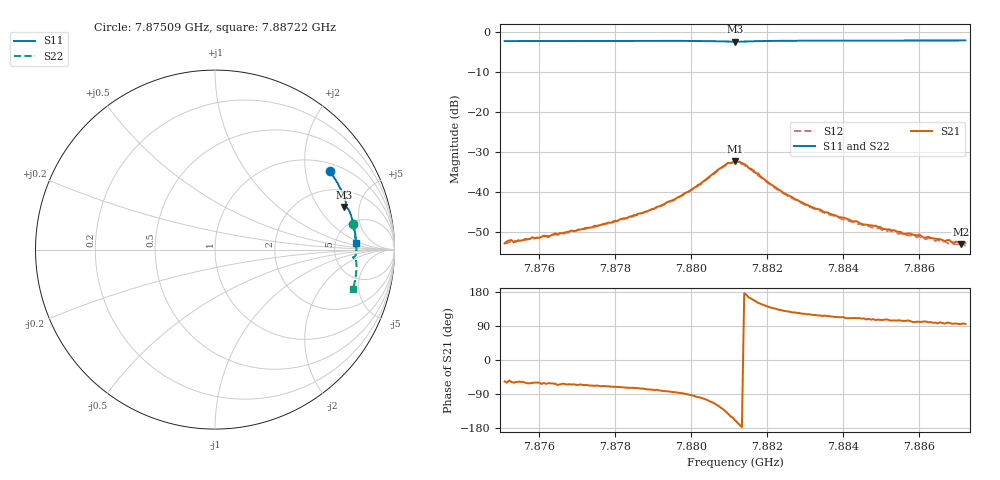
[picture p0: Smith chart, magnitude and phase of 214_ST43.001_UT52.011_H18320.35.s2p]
#  HZ  S  DB  R  50.00
! Rohde & Schwarz Vector Network Analyzer
! Rohde-Schwarz,ZNB20-2Port,1311601062101988,3.16
! Created: UTC 1/12/2023, 6:45:19 PM
! freq[Hz]  db:S11  ang:S11  db:S21  ang:S21  db:S12  ang:S12  db:S22  ang:S22
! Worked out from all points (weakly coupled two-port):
!   201 points, 7.87509 GHz to 7.88722 GHz, reference 50 ohm
!   highest |S21| = -32.41 dB at 7.88116 GHz (marker M1); lowest = -53.2 dB at 7.8871 GHz (marker M2)
!   lowest |S11| = -2.4 dB at 7.88116 GHz (marker M3), VSWR 7.32, Z = 157 + j177 ohm
!   |S11| at or under -10 dB: nowhere
!   |S22| runs from -2.3 to -1.9 dB; largest |S21 - S12| = 0.002
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7.87509e9  -2.23 34.3  -52.95 -56.3  -52.64 -61.8  -2.16 10.5
7.875272e9  -2.23 33.8  -52.09 -58.1  -52.38 -61.0  -2.15 10.0
7.875333e9  -2.23 33.6  -52.66 -60.0  -52.17 -60.1  -2.15 9.9
7.876242e9  -2.21 31.1  -51.14 -61.2  -51.37 -65.3  -2.12 7.7
7.877152e9  -2.19 28.6  -49.31 -66.0  -49.32 -70.0  -2.10 5.6
7.878062e9  -2.19 26.2  -47.33 -71.1  -47.39 -74.2  -2.09 3.5
7.879154e9  -2.18 23.1  -43.68 -80.3  -43.75 -83.0  -2.06 0.9
7.879942e9  -2.20 20.8  -39.89 -91.4  -39.98 -95.3  -2.08 -1.1
7.880973e9  -2.36 18.2  -32.72 -141.7  -33.05 -144.9  -2.26 -3.3
7.881155e9  -2.39 18.3  -32.41 -158.8  -32.64 -163.1  -2.28 -3.2
7.881459e9  -2.33 18.2  -33.43 171.7  -33.68 168.0  -2.23 -3.1
7.882429e9  -2.16 15.6  -40.25 129.9  -40.40 126.5  -2.05 -5.2
7.883218e9  -2.13 13.4  -43.94 119.0  -44.19 116.1  -2.00 -7.2
7.88437e9  -2.11 10.2  -47.41 110.2  -48.07 106.4  -1.97 -9.8
7.885219e9  -2.10 8.0  -49.43 104.8  -49.68 101.7  -1.95 -11.7
7.885583e9  -2.10 7.0  -50.53 103.1  -50.88 100.2  -1.95 -12.5
7.886008e9  -2.09 5.9  -50.70 100.7  -51.22 97.7  -1.95 -13.4
7.886129e9  -2.09 5.6  -51.52 101.9  -51.79 98.2  -1.95 -13.7
7.886796e9  -2.08 3.8  -52.07 98.4  -53.02 95.4  -1.94 -15.1
7.887099e9  -2.08 3.1  -53.18 94.6  -53.24 93.0  -1.94 -15.7
7.88716e9  -2.08 2.9  -53.05 96.5  -52.87 93.8  -1.95 -15.9
7.887221e9  -2.08 2.7  -52.74 95.2  -53.62 92.6  -1.94 -16.0
